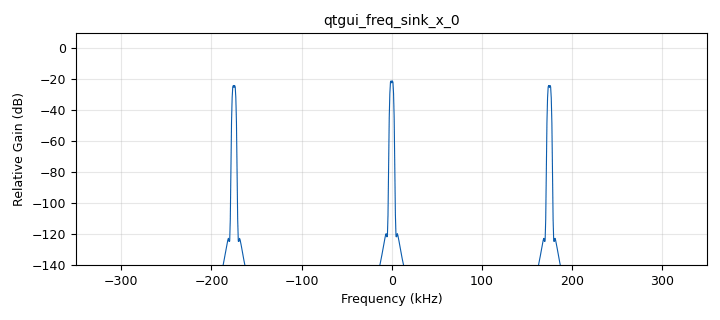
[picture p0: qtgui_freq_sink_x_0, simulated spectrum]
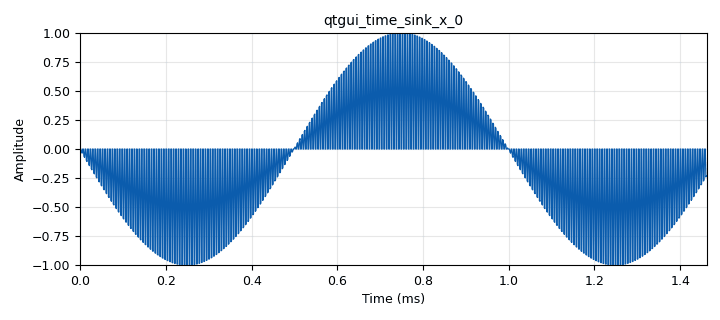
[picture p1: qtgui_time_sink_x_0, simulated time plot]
options:
  parameters:
    author: benjamin
    generate_options: qt_gui
    id: act_prevgnu
    output_language: python
    title: Not titled yet
  states: {}

blocks:
- name: samp_rate
  id: variable
  parameters:
    value: '700000'
  states: {}
- name: analog_sig_source_x_0
  id: analog_sig_source_x
  parameters:
    amp: '1'
    freq: '1000000'
    offset: '0'
    phase: '0'
    samp_rate: '32000'
    type: float
    waveform: analog.GR_SQR_WAVE
  states: {}
- name: analog_sig_source_x_1
  id: analog_sig_source_x
  parameters:
    amp: '1'
    freq: '1000'
    offset: '0'
    phase: '0'
    samp_rate: samp_rate
    type: float
    waveform: analog.GR_COS_WAVE
  states: {}
- name: blocks_multiply_xx_0
  id: blocks_multiply_xx
  parameters:
    type: float
  states: {}
- name: qtgui_freq_sink_x_0
  id: qtgui_freq_sink_x
  parameters:
    bw: samp_rate
    fc: '0'
    fftsize: '1024'
    type: float
  states: {}
- name: qtgui_time_sink_x_0
  id: qtgui_time_sink_x
  parameters:
    size: '1024'
    srate: samp_rate
    type: float
  states: {}

connections:
- [analog_sig_source_x_0, '0', blocks_multiply_xx_0, '0']
- [analog_sig_source_x_1, '0', blocks_multiply_xx_0, '1']
- [blocks_multiply_xx_0, '0', qtgui_freq_sink_x_0, '0']
- [blocks_multiply_xx_0, '0', qtgui_time_sink_x_0, '0']

metadata:
  file_format: 1
  grc_version: 3.10.9.2
